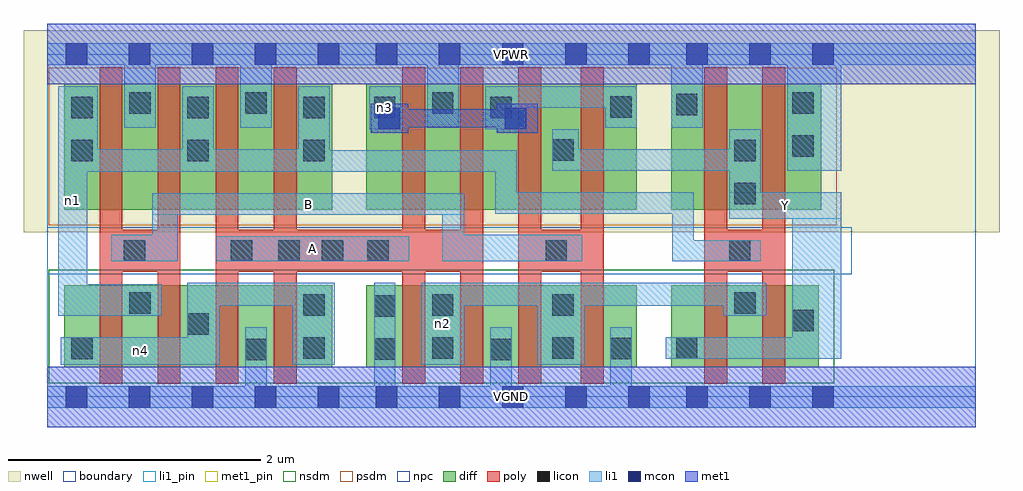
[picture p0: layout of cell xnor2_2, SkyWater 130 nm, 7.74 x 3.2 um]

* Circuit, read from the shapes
.subckt xnor2_2 A B VGND VPWR Y n1 n2 n3 n4
XM1 n1 B n4 VSUBS sky130_fd_pr__nfet_01v8 w=0.65 l=0.18 m=2
XM2 VGND A n4 VSUBS sky130_fd_pr__nfet_01v8 w=0.65 l=0.18 m=2
XM3 n2 A VGND VSUBS sky130_fd_pr__nfet_01v8 w=0.65 l=0.18 m=2
XM4 n2 B VGND VSUBS sky130_fd_pr__nfet_01v8 w=0.65 l=0.18 m=2
XM5 n2 n1 Y VSUBS sky130_fd_pr__nfet_01v8 w=0.65 l=0.18 m=2
XM6 VPWR B n1 n5 sky130_fd_pr__pfet_01v8 w=1 l=0.18 m=2
XM7 VPWR A n1 n5 sky130_fd_pr__pfet_01v8 w=1 l=0.18 m=2
XM8 VPWR A n3 n5 sky130_fd_pr__pfet_01v8 w=1 l=0.18 m=2
XM9 Y B n3 n5 sky130_fd_pr__pfet_01v8 w=1 l=0.18 m=2
XM10 Y n1 VPWR n5 sky130_fd_pr__pfet_01v8 w=1 l=0.18 m=2
.ends

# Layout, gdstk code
import gdstk
lib = gdstk.Library(unit=1e-6, precision=1e-09)
def R(c, l, rs):  # rectangles x0, y0, x1, y1
    for r in rs: c.add(gdstk.rectangle(r[:2], r[2:], *l))
def A(c, l, x, y, w, h, nx, ny, dx, dy):  # array of equal rectangles
    R(c, l, [(x+i*dx, y+j*dy, x+i*dx+w, y+j*dy+h) for i in range(nx) for j in range(ny)])
nwell = (64, 20)
diff = (65, 20)
poly = (66, 20)
licon = (66, 44)
li1_pin = (67, 16)
li1 = (67, 20)
mcon = (67, 44)
met1_pin = (68, 16)
met1 = (68, 20)
nsdm = (93, 44)
psdm = (94, 20)
npc = (95, 20)
boundary = (235, 4)

xnor2_2 = lib.new_cell('xnor2_2')
R(xnor2_2, nwell, [(-0.19,1.305,7.55,2.91), (0,1.305,7.36,2.91)])
R(xnor2_2, diff, [(0.135,0.235,2.26,0.885), (2.53,0.235,4.675,0.885), (4.945,0.235,6.115,0.885), (0.135,1.485,2.26,2.485), (2.53,1.485,4.675,2.485), (4.945,1.485,6.135,2.485)])
A(xnor2_2, poly, 0.415, 0.105, 0.18, 2.51, 4, 1, 0.46, 0)
A(xnor2_2, poly, 2.815, 0.105, 0.18, 2.51, 3, 1, 0.46, 0)
R(xnor2_2, poly, [(4.23,0.105,4.41,2.615), (5.21,0.105,5.39,2.615), (5.67,0.105,5.85,2.615), (0.415,0.995,1.055,1.325), (1.335,0.995,3.455,1.325), (3.735,0.995,4.41,1.325), (5.21,0.995,5.85,1.325)])
A(xnor2_2, licon, 0.19, 1.87, 0.17, 0.17, 3, 2, 0.92, 0.34)
R(xnor2_2, licon, [(1.57,0.29,1.74,0.46), (3.51,0.29,3.68,0.46), (2.59,0.295,2.76,0.465), (0.19,0.3,0.36,0.47), (4.465,0.3,4.635,0.47), (2.03,0.305,2.2,0.475), (3.05,0.305,3.22,0.475), (4.005,0.305,4.175,0.475), (4.985,0.305,5.155,0.475), (1.11,0.495,1.28,0.665), (5.905,0.52,6.075,0.69), (2.59,0.635,2.76,0.805), (2.03,0.645,2.2,0.815), (3.05,0.645,3.22,0.815), (4.005,0.645,4.175,0.815), (0.65,0.66,0.82,0.83), (5.445,0.66,5.615,0.83), (0.605,1.075,0.775,1.245), (1.455,1.075,1.625,1.245), (1.83,1.075,2,1.245), (2.175,1.075,2.345,1.245), (2.535,1.075,2.705,1.245), (3.95,1.075,4.12,1.245), (5.405,1.075,5.575,1.245), (5.445,1.53,5.615,1.7), (5.445,1.87,5.615,2.04), (4.005,1.875,4.175,2.045), (5.905,1.905,6.075,2.075), (2.59,2.21,2.76,2.38), (3.51,2.21,3.68,2.38), (4.465,2.215,4.635,2.385), (4.985,2.235,5.155,2.405), (0.65,2.245,0.82,2.415), (1.57,2.245,1.74,2.415), (3.05,2.245,3.22,2.415), (5.905,2.245,6.075,2.415)])
R(xnor2_2, li1_pin, [(1.34,1.075,2.87,1.275), (5.405,1.415,6.295,1.625), (0.83,1.445,3.305,1.615)])
R(xnor2_2, li1, [(0,-0.085,7.36,0.085), (1.57,-0.085,1.74,0.555), (2.59,-0.085,2.76,0.905), (3.51,-0.085,3.68,0.555), (4.465,-0.085,4.635,0.555), (0.105,0.255,1.365,0.475), (1.11,0.255,1.365,0.905), (1.945,0.255,2.28,0.905), (2.965,0.255,3.305,0.905), (3.885,0.255,4.26,0.905), (4.905,0.305,6.295,0.475), (5.905,0.305,6.295,1.625), (0.085,0.645,0.315,2.465), (0.085,0.645,0.905,0.895), (5.36,0.645,5.7,0.905), (1.11,0.725,2.28,0.905), (2.965,0.725,5.7,0.905), (0.505,1.075,1.035,1.285), (0.83,1.075,1.035,1.615), (1.34,1.075,2.87,1.275), (3.13,1.075,4.24,1.285), (3.13,1.075,3.305,1.615), (4.955,1.075,5.655,1.245), (4.955,1.075,5.125,1.625), (5.405,1.415,5.655,2.125), (5.405,1.415,6.295,1.625), (0.83,1.445,3.305,1.615), (3.55,1.455,5.125,1.625), (3.55,1.455,3.72,1.955), (0.085,1.785,3.72,1.955), (0.085,1.785,0.4,2.465), (0.085,1.785,2.24,1.965), (1.07,1.785,1.32,2.465), (1.99,1.785,2.24,2.465), (4.005,1.795,5.655,1.965), (4.005,1.795,4.215,2.125), (5.865,1.795,6.295,2.805), (2.55,2.125,2.8,2.465), (3.47,2.125,3.8,2.465), (0.61,2.135,0.86,2.805), (1.53,2.135,1.78,2.805), (3.01,2.135,3.26,2.805), (4.425,2.135,4.675,2.465), (4.945,2.135,5.195,2.805), (3.47,2.295,4.675,2.465), (0,2.635,7.36,2.805)])
A(xnor2_2, mcon, 0.145, -0.085, 0.17, 0.17, 5, 2, 0.5, 2.72)
A(xnor2_2, mcon, 2.605, -0.085, 0.17, 0.17, 5, 2, 0.5, 2.72)
A(xnor2_2, mcon, 5.065, -0.085, 0.17, 0.17, 3, 2, 0.5, 2.72)
R(xnor2_2, mcon, [(2.625,2.125,2.795,2.295), (3.625,2.125,3.795,2.295)])
R(xnor2_2, met1_pin, [(0,-0.24,7.36,0.24), (0,2.48,7.36,2.96)])
R(xnor2_2, met1, [(0,-0.24,7.36,0.24), (2.565,2.095,2.86,2.325), (3.565,2.095,3.89,2.325), (2.565,2.14,3.89,2.28), (0,2.48,7.36,2.96)])
R(xnor2_2, nsdm, [(0.01,0.11,6.24,1.01)])
R(xnor2_2, psdm, [(0.01,1.36,6.26,2.61)])
R(xnor2_2, npc, [(0,0.975,6.38,1.345)])
R(xnor2_2, boundary, [(0,0,7.36,2.72)])
xnor2_2.add(gdstk.Label('A', (2.105,1.175), layer=67, texttype=5))
xnor2_2.add(gdstk.Label('B', (2.067,1.53), layer=67, texttype=5))
xnor2_2.add(gdstk.Label('Y', (5.85,1.52), layer=67, texttype=5))
xnor2_2.add(gdstk.Label('n4', (0.735,0.365), layer=67, texttype=5))
xnor2_2.add(gdstk.Label('n2', (3.135,0.58), layer=67, texttype=5))
xnor2_2.add(gdstk.Label('n1', (0.2,1.555), layer=67, texttype=5))
xnor2_2.add(gdstk.Label('n3', (2.675,2.295), layer=67, texttype=5))
xnor2_2.add(gdstk.Label('VPWR', (3.68,2.72), layer=68, texttype=5))
xnor2_2.add(gdstk.Label('VGND', (3.68,0), layer=68, texttype=5))
xnor2_2.add(gdstk.Label('A', (2.105,1.175), layer=67, texttype=16))
xnor2_2.add(gdstk.Label('B', (2.067,1.53), layer=67, texttype=16))
xnor2_2.add(gdstk.Label('Y', (5.85,1.52), layer=67, texttype=16))
xnor2_2.add(gdstk.Label('VPWR', (3.68,2.72), layer=68, texttype=16))
xnor2_2.add(gdstk.Label('VGND', (3.68,0), layer=68, texttype=16))

lib.write_gds('xnor2_2.gds')
